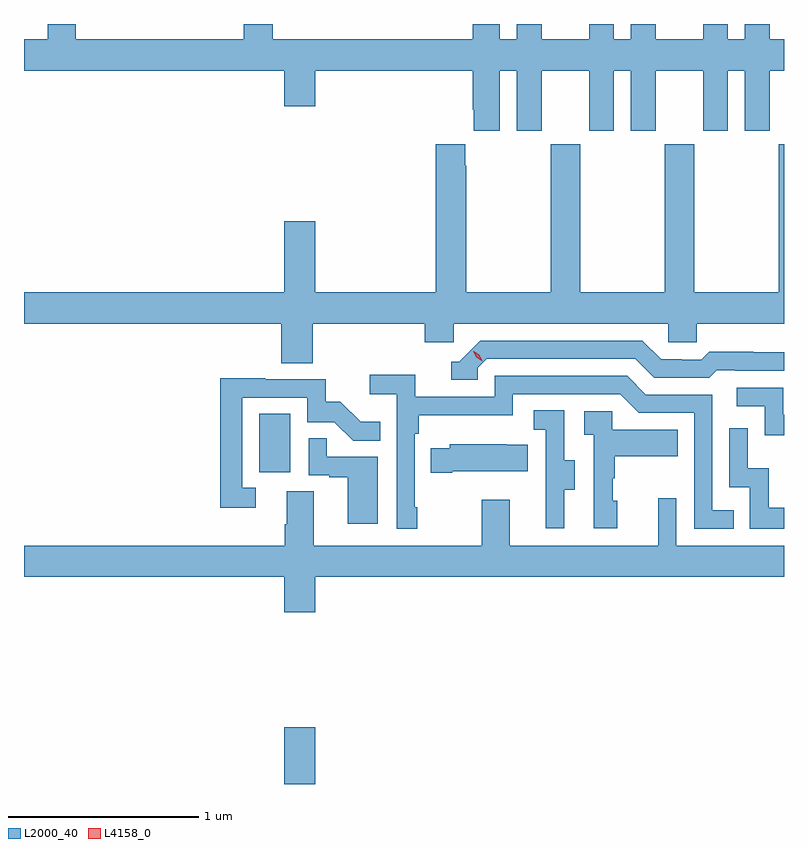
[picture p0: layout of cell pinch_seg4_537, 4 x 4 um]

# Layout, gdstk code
import gdstk
lib = gdstk.Library(unit=1e-6, precision=1e-09)
def R(c, l, rs):  # rectangles x0, y0, x1, y1
    for r in rs: c.add(gdstk.rectangle(r[:2], r[2:], *l))
def P(c, l, *ps):  # polygons
    for p in ps: c.add(gdstk.Polygon(p, *l))
L2000_40 = (2000, 40)
L4158_0 = (4158, 0)

pinch_seg4_537 = lib.new_cell('pinch_seg4_537')
R(pinch_seg4_537, L2000_40, [(1142.03,778.413,1142.194,778.711), (1141.898,780.054,1142.062,780.361)])
P(pinch_seg4_537, L2000_40, [(1143.166,782.168),(1143.254,782.168),(1143.254,781.851),(1143.385,781.851),(1143.385,782.168),(1143.635,782.168),(1143.635,781.851),(1143.766,781.851),(1143.766,782.168),(1143.854,782.168),(1143.854,781.851),(1143.985,781.851),(1143.985,782.168),(1144.235,782.168),(1144.235,781.851),(1144.366,781.851),(1144.366,782.168),(1144.454,782.168),(1144.454,781.851),(1144.585,781.851),(1144.585,782.168),(1144.661,782.168),(1144.661,782.332),(1144.585,782.332),(1144.585,782.413),(1144.454,782.413),(1144.454,782.332),(1144.366,782.332),(1144.366,782.413),(1144.235,782.413),(1144.235,782.332),(1143.985,782.332),(1143.985,782.413),(1143.854,782.413),(1143.854,782.332),(1143.766,782.332),(1143.766,782.413),(1143.635,782.413),(1143.635,782.332),(1143.385,782.332),(1143.385,782.413),(1143.254,782.413),(1143.254,782.332),(1143.166,782.332),(1143.166,782.413),(1143.023,782.413),(1143.023,782.332),(1141.97,782.332),(1141.97,782.413),(1141.817,782.413),(1141.817,782.332),(1140.933,782.332),(1140.933,782.413),(1140.785,782.413),(1140.785,782.332),(1140.661,782.332),(1140.661,782.168),(1142.03,782.168),(1142.03,781.98),(1142.194,781.98),(1142.194,782.168),(1143.023,782.168),(1143.023,781.963),(1143.029,781.963),(1143.029,781.851),(1143.166,781.851)],
  [(1142.18,780.836),(1142.771,780.836),(1142.771,780.738),(1142.922,780.738),(1142.922,780.836),(1144.053,780.836),(1144.053,780.738),(1144.203,780.738),(1144.203,780.836),(1144.661,780.836),(1144.661,781.78),(1144.633,781.78),(1144.633,781),(1144.188,781),(1144.188,781.78),(1144.033,781.78),(1144.033,781),(1143.588,781),(1143.588,781.78),(1143.433,781.78),(1143.433,781),(1142.988,781),(1142.988,781.667),(1142.983,781.667),(1142.983,781.78),(1142.828,781.78),(1142.828,781),(1142.194,781),(1142.194,781.375),(1142.03,781.375),(1142.03,781),(1140.661,781),(1140.661,780.836),(1142.015,780.836),(1142.015,780.628),(1142.18,780.628)],
  [(1143.048,780.603),(1143.096,780.651),(1143.879,780.651),(1143.978,780.552),(1144.267,780.552),(1144.306,780.591),(1144.405,780.591),(1144.405,780.588),(1144.661,780.588),(1144.661,780.685),(1144.5,780.685),(1144.5,780.688),(1144.267,780.688),(1144.225,780.645),(1144.122,780.645),(1144.122,780.648),(1144.015,780.648),(1143.916,780.747),(1143.063,780.747),(1142.952,780.636),(1142.909,780.636),(1142.909,780.54),(1143.048,780.54)],
  [(1142.731,779.869),(1142.718,779.869),(1142.718,780.257),(1142.738,780.257),(1142.738,780.353),(1143.234,780.353),(1143.234,780.465),(1143.798,780.465),(1143.897,780.366),(1144.188,780.366),(1144.188,779.757),(1144.397,779.757),(1144.397,779.853),(1144.284,779.853),(1144.284,780.462),(1143.934,780.462),(1143.835,780.561),(1143.138,780.561),(1143.138,780.45),(1142.72,780.45),(1142.72,780.566),(1142.481,780.566),(1142.481,780.464),(1142.622,780.464),(1142.622,779.757),(1142.731,779.757)],
  [(1141.882,779.973),(1141.809,779.973),(1141.809,780.447),(1142.151,780.447),(1142.151,780.318),(1142.295,780.318),(1142.393,780.22),(1142.537,780.22),(1142.537,780.319),(1142.433,780.319),(1142.326,780.426),(1142.25,780.426),(1142.25,780.543),(1141.931,780.543),(1141.931,780.548),(1141.693,780.548),(1141.693,779.868),(1141.882,779.868)],
  [(1144.661,780.357),(1144.656,780.357),(1144.656,780.498),(1144.413,780.498),(1144.413,780.402),(1144.56,780.402),(1144.56,780.249),(1144.661,780.249)],
  [(1143.505,779.962),(1143.559,779.962),(1143.559,780.117),(1143.504,780.117),(1143.504,780.38),(1143.345,780.38),(1143.345,780.277),(1143.408,780.277),(1143.408,779.973),(1143.407,779.973),(1143.407,779.76),(1143.505,779.76)],
  [(1143.784,779.904),(1143.759,779.904),(1143.759,780.023),(1143.769,780.023),(1143.769,780.137),(1144.103,780.137),(1144.103,780.277),(1143.756,780.277),(1143.756,780.375),(1143.609,780.375),(1143.609,780.251),(1143.66,780.251),(1143.66,779.76),(1143.784,779.76)],
  [(1144.661,779.866),(1144.58,779.866),(1144.58,780.074),(1144.47,780.074),(1144.47,780.286),(1144.374,780.286),(1144.374,779.976),(1144.482,779.976),(1144.482,779.757),(1144.661,779.757)],
  [(1142.524,780.135),(1142.255,780.135),(1142.255,780.233),(1142.16,780.233),(1142.16,780.039),(1142.267,780.039),(1142.267,780.027),(1142.366,780.027),(1142.366,779.784),(1142.524,779.784)],
  [(1142.914,780.059),(1143.311,780.059),(1143.311,780.199),(1143.203,780.199),(1143.203,780.202),(1142.901,780.202),(1142.901,780.181),(1142.803,780.181),(1142.803,780.052),(1142.914,780.052)],
  [(1142.194,779.504),(1144.661,779.504),(1144.661,779.668),(1144.095,779.668),(1144.095,779.917),(1143.998,779.917),(1143.998,779.668),(1143.217,779.668),(1143.217,779.908),(1143.07,779.908),(1143.07,779.668),(1142.185,779.668),(1142.185,779.954),(1142.045,779.954),(1142.045,779.78),(1142.033,779.78),(1142.033,779.668),(1140.661,779.668),(1140.661,779.504),(1142.03,779.504),(1142.03,779.316),(1142.194,779.316)])
P(pinch_seg4_537, L4158_0, [(1143.073,780.638),(1143.042,780.658),(1143.026,780.69),(1143.026,780.69),(1143.027,780.69),(1143.057,780.671),(1143.073,780.638),(1143.073,780.638)])

lib.write_gds('pinch_seg4_537.gds')
